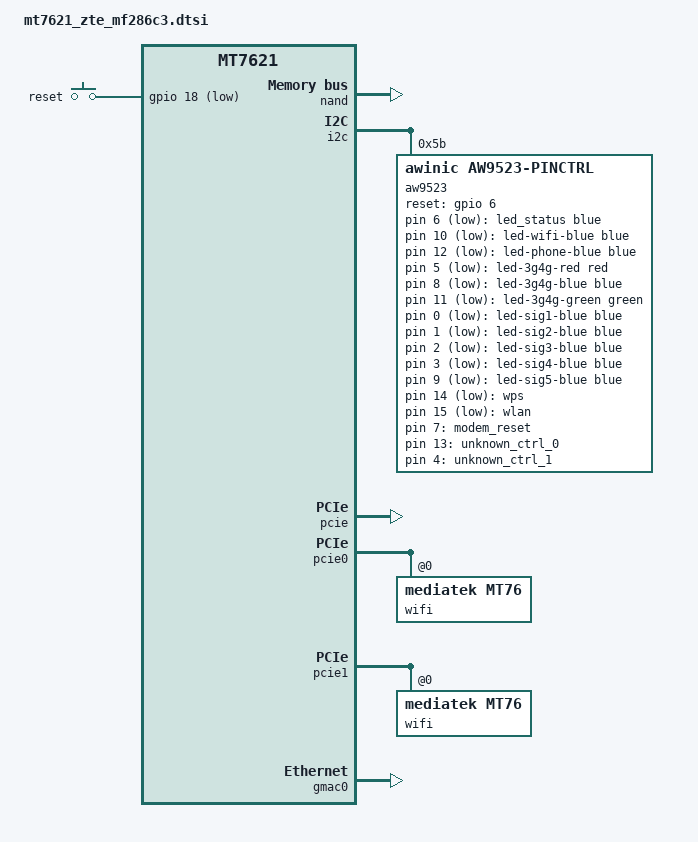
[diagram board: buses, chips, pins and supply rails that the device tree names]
// SPDX-License-Identifier: GPL-2.0-or-later OR MIT

#include "mt7621.dtsi"

#include <dt-bindings/gpio/gpio.h>
#include <dt-bindings/input/input.h>
#include <dt-bindings/leds/common.h>

/ {
	aliases {
		led-boot = &led_status;
		led-failsafe = &led_status;
		led-running = &led_status;
		led-upgrade = &led_status;
	};

	leds {
		compatible = "gpio-leds";
		pinctrl-names = "default";
		pinctrl-0 = <&led_pins>;

		led_status: led-power-blue { /* p0_6 - Housing: POWER / PCB: PWR */
			color = <LED_COLOR_ID_BLUE>;
			function = LED_FUNCTION_POWER;
			gpios = <&aw9523 6 GPIO_ACTIVE_LOW>;
		};

		led-wifi-blue { /* p1_2 - Housing: WIFI / PCB: WIFI */
			color = <LED_COLOR_ID_BLUE>;
			function = LED_FUNCTION_WLAN;
			gpios = <&aw9523 10 GPIO_ACTIVE_LOW>;
			linux,default-trigger = "network";
		};

		led-phone-blue { /* p1_4 - Housing: PHONE / PCB: TEL */
			color = <LED_COLOR_ID_BLUE>;
			function = "phone";
			gpios = <&aw9523 12 GPIO_ACTIVE_LOW>;
		};

		led-3g4g-red { /* p0_5 - Housing: 3G/4G / PCB: NET */
			color = <LED_COLOR_ID_RED>;
			function = LED_FUNCTION_MOBILE;
			gpios = <&aw9523 5 GPIO_ACTIVE_LOW>;
		};

		led-3g4g-blue { /* p1_0 - Housing: 3G/4G / PCB: NET */
			color = <LED_COLOR_ID_BLUE>;
			function = LED_FUNCTION_MOBILE;
			gpios = <&aw9523 8 GPIO_ACTIVE_LOW>;
		};

		led-3g4g-green { /* p1_3 - Housing: 3G/4G / PCB: NET */
			color = <LED_COLOR_ID_GREEN>;
			function = LED_FUNCTION_MOBILE;
			gpios = <&aw9523 11 GPIO_ACTIVE_LOW>;
		};

		led-sig1-blue { /* p0_0 - Housing: SIG / PCB: LTE-SS1 */
			color = <LED_COLOR_ID_BLUE>;
			function = LED_FUNCTION_INDICATOR;
			function-enumerator = <1>;
			gpios = <&aw9523 0 GPIO_ACTIVE_LOW>;
		};

		led-sig2-blue { /* p0_1 - Housing: SIG / PCB: LTE-SS2 */
			color = <LED_COLOR_ID_BLUE>;
			function = LED_FUNCTION_INDICATOR;
			function-enumerator = <2>;
			gpios = <&aw9523 1 GPIO_ACTIVE_LOW>;
		};

		led-sig3-blue { /* p0_2 - Housing: SIG / PCB: LTE-SS3 */
			color = <LED_COLOR_ID_BLUE>;
			function = LED_FUNCTION_INDICATOR;
			function-enumerator = <3>;
			gpios = <&aw9523 2 GPIO_ACTIVE_LOW>;
		};

		led-sig4-blue { /* p0_3 - Housing: SIG / PCB: LTE-SS4 */
			color = <LED_COLOR_ID_BLUE>;
			function = LED_FUNCTION_INDICATOR;
			function-enumerator = <4>;
			gpios = <&aw9523 3 GPIO_ACTIVE_LOW>;
		};

		led-sig5-blue { /* p1_1 - Housing: SIG / PCB: LTE-SS5 */
			color = <LED_COLOR_ID_BLUE>;
			function = LED_FUNCTION_INDICATOR;
			function-enumerator = <5>;
			gpios = <&aw9523 9 GPIO_ACTIVE_LOW>;
		};
	};

	key {
		compatible = "gpio-keys";

		key-reset { /* gpio18 - Housing: RESET */
			label = "reset";
			gpios = <&gpio 18 GPIO_ACTIVE_LOW>;
			linux,code = <KEY_RESTART>;
		};
	};

	keys {
		compatible = "gpio-keys-polled";
		poll-interval = <50>;
		pinctrl-names = "default";
		pinctrl-0 = <&button_pins>;

		key-wps { /* p1_6 - Housing: WPS */
			label = "wps";
			gpios = <&aw9523 14 GPIO_ACTIVE_LOW>;
			linux,code = <KEY_WPS_BUTTON>;
		};

		key-wlan { /* p1_7 - Housing: WLAN */
			label = "wlan";
			gpios = <&aw9523 15 GPIO_ACTIVE_LOW>;
			linux,code = <KEY_WLAN>;
		};
	};

	gpio-export {
		compatible = "gpio-export";

		gpio_modem_reset { /* p0_7 */
			gpio-export,name = "modem_reset";
			gpio-export,output = <0>;
			gpios = <&aw9523 7 GPIO_ACTIVE_HIGH>;
		};

		gpio_unknown_ctrl_0 { /* p1_5 */
			gpio-export,name = "unknown_ctrl_0";
			gpio-export,output = <0>;
			gpios = <&aw9523 13 GPIO_ACTIVE_HIGH>;
		};

		gpio_unknown_ctrl_1 { /* p0_4 */
			gpio-export,name = "unknown_ctrl_1";
			gpio-export,output = <1>;
			gpios = <&aw9523 4 GPIO_ACTIVE_HIGH>;
		};
	};
};

&nand {
	status = "okay";

	partitions {
		compatible = "fixed-partitions";
		#address-cells = <1>;
		#size-cells = <1>;

		all@0 {
			label = "ALL";
			reg = <0x0 0x7f80000>;
			read-only;
		};

		partition@0 {
			label = "Bootloader";
			reg = <0x0 0x80000>;
			read-only;
		};

		partition@80000 {
			label = "Config";
			reg = <0x80000 0x80000>;
			read-only;
		};

		partition@100000 {
			label = "Factory";
			reg = <0x100000 0x100000>;
			read-only;

			nvmem-layout {
				compatible = "fixed-layout";
				#address-cells = <1>;
				#size-cells = <1>;

				eeprom0: eeprom@0 {
					reg = <0x0 0x400>;
				};

				eeprom1: eeprom@8000 {
					reg = <0x8000 0x4da8>;
				};

				macaddr_factory_e000: macaddr@e000 {
					reg = <0xe000 0x6>;
				};

				macaddr_factory_e006: macaddr@e006 {
					reg = <0xe006 0x6>;
				};
			};
		};

		partition@200000 {
			label = "inventory";
			reg = <0x200000 0x100000>;
			read-only;
		};

		partition@300000 {
			label = "customer";
			reg = <0x300000 0x100000>;
			read-only;
		};

		partition@400000 {
			label = "zone";
			reg = <0x400000 0x100000>;
		};

		partition@500000 {
			label = "reserved0";
			reg = <0x500000 0x500000>;
			read-only;
		};

		partition@a00000 {
			label = "kernel0";
			reg = <0xa00000 0x500000>;
		};

		partition@f00000 {
			label = "kernel1";
			reg = <0xf00000 0x500000>;
		};

		partition@1400000 {
			label = "ubi0";
			reg = <0x1400000 0x2400000>;
		};

		partition@3800000 {
			label = "ubi1";
			reg = <0x3800000 0x2400000>;
		};

		partition@5c00000 {
			label = "reserved1";
			reg = <0x5c00000 0xa00000>;
			read-only;
		};

		partition@6600000 {
			label = "reserved2";
			reg = <0x6600000 0xf00000>;
			read-only;
		};
	};
};

&i2c {
	status = "okay";

	aw9523: gpio-expander@5b {
		compatible = "awinic,aw9523-pinctrl";
		reg = <0x5b>;
		gpio-controller;
		#gpio-cells = <2>;
		gpio-ranges = <&aw9523 0 0 16>;

		reset-gpios = <&gpio 6 GPIO_ACTIVE_HIGH>;

		button_pins: button-pins {
			pins = "gpio14", "gpio15";
			function = "gpio";
			input-enable;
		};

		led_pins: led-pins {
			pins = "gpio0", "gpio1", "gpio2", "gpio3", "gpio5", "gpio6",
				"gpio8", "gpio9", "gpio10", "gpio11", "gpio12";
			function = "gpio";
			input-disable;
			output-low;
		};

		modem_pins: modem-pins {
			pins = "gpio4", "gpio7", "gpio13";
			function = "gpio";
			input-disable;
		};
	};
};

&pcie {
	status = "okay";
};

&pcie0 {
	status = "okay";
	wifi@0,0 {
		compatible = "mediatek,mt76";
		reg = <0x0 0 0 0 0>;
		ieee80211-freq-limit = <2400000 2500000>;
		nvmem-cells = <&eeprom0>;
		nvmem-cell-names = "eeprom";
	};
};

&pcie1 {
	status = "okay";
	wifi@0,0 {
		compatible = "mediatek,mt76";
		reg = <0x0 0 0 0 0>;
		ieee80211-freq-limit = <5000000 6000000>;
		nvmem-cells = <&eeprom1>;
		nvmem-cell-names = "eeprom";
	};
};

&gmac0 {
	status = "okay";
	nvmem-cells = <&macaddr_factory_e000>;
	nvmem-cell-names = "mac-address";
};

&ethphy1 { /delete-property/ interrupts; };
&ethphy2 { /delete-property/ interrupts; };
&ethphy3 { /delete-property/ interrupts; };
&ethphy4 { /delete-property/ interrupts; };

&switch0 {
	ports {
		port@1 {
			status = "okay";
			label = "lan4";
		};

		port@2 {
			status = "okay";
			label = "lan3";
		};

		port@3 {
			status = "okay";
			label = "lan2";
		};

		port@4 {
			status = "okay";
			label = "wan";
			nvmem-cells = <&macaddr_factory_e006>;
			nvmem-cell-names = "mac-address";
		};
	};
};
